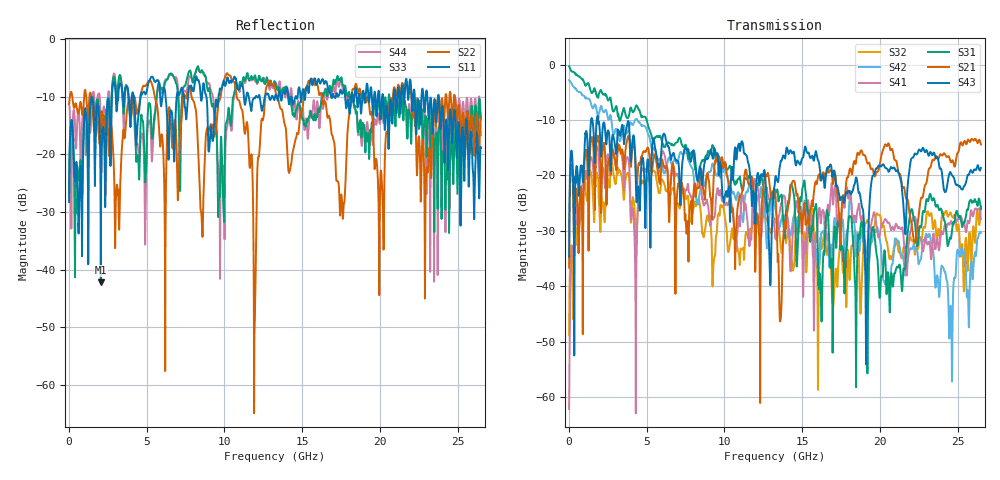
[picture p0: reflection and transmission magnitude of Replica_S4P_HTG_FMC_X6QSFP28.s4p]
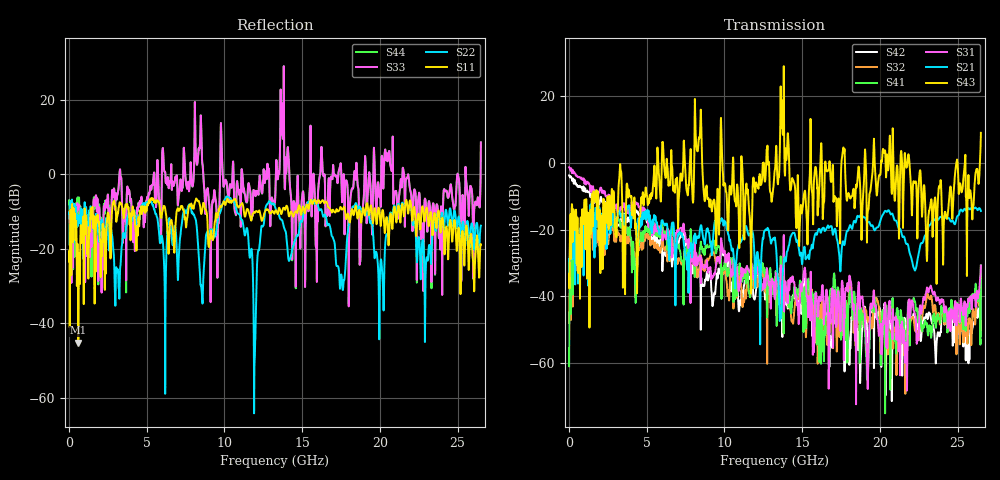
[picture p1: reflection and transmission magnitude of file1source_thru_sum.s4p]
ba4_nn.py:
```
import skrf as rf
import matplotlib.pyplot as plt
from pathlib import Path

# Absolute path of the folder that holds *this* file
APP_DIR = Path(__file__).resolve().parent

# File you want to load, e.g. "config.yaml" that sits next to your script
filename = "Replica_S4P_HTG_FMC_X6QSFP28.s4p"
filename1 = "file1source_thru_sum.s4p"
data_file = APP_DIR / filename1

ntw1 = rf.Network(data_file)

ntw1diff = ntw1.copy()
ntw1diff.se2gmm(p=2)

# plot differential return loss
plt.figure(figsize=(10, 5)) 
plt.subplot(1, 2, 1)
plt.suptitle(filename1)
ntw1diff.s11.plot_s_db(label = 'sdd11')
plt.legend()

# plot differential insertion loss
plt.subplot(1, 2, 2)
ntw1diff.s21.plot_s_db(label = 'sdd21')
plt.legend()

##### Split into 2 halves #####
mm_dm = rf.IEEEP370_MM_NZC_2xThru(dummy_2xthru = ntw1, z0 = 50, name = '2xthru')

fix1 = mm_dm.se_side1
fix1.name = 'thru'
mm_side1 = fix1.copy()
mm_side1.se2gmm(p = 2)



# plot differential return loss of one half
plt.figure(figsize=(10, 5)) 
plt.suptitle("AFTER SPLITTING")                 
plt.subplot(1, 2, 1)
mm_side1.s11.plot_s_db(label = 'sdd11')
plt.legend()


# plot differential insertion loss of one half
plt.subplot(1, 2, 2)
mm_side1.s21.plot_s_db(label = 'sdd21')
plt.legend()

plt.show()

# save 4-port S-parameters of one half
fix1.write_touchstone('newfile_add.s4p')
input("Press enter to close the plotting window...")

##### Add cable to port 1 and port2 #####
'''
freq = fix1.frequency
p1 = rf.Circuit.Port(freq, name='port1', z0=50)
p2 = rf.Circuit.Port(freq, name='port2', z0=50)
p3 = rf.Circuit.Port(freq, name='port3', z0=50)
p4 = rf.Circuit.Port(freq, name='port4', z0=50)

cable1 = rf.Network('cable_nearzero.s2p',name='cable1')
cable2 = rf.Network('cable_nearzero.s2p',name='cable2')

# cable1 = 0
# cable2 = 0

fixture = rf.Circuit([[(p1,0),(cable1,0)],[(cable1,1),(fix1,0)],
                      [(p2,0),(cable2,0)],[(cable2,1),(fix1,1)],
                      [(p3,0),(fix1,2)],[(p4,0),(fix1,3)]]).network

mm_fixture = fixture.copy()
mm_fixture.se2gmm(p = 2)

# plot differential return loss of final fixture
plt.figure(figsize=(10, 5))      
plt.suptitle("FINAL RESULT")             
plt.subplot(1, 2, 1)
mm_fixture.s11.plot_s_db(label = 'sdd11')
plt.legend()

# plot differential insertion loss of final fixture
plt.subplot(1, 2, 2)
mm_fixture.s21.plot_s_db(label = 'sdd21')
plt.legend()

finaldatafile = 'newfile.s4p'
fullpath = APP_DIR / finaldatafile
# save 4-port S-parameters of final fixture
fixture.write_touchstone(fullpath)
'''
```
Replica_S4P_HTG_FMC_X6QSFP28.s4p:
!Keysight Technologies,N5222B,MY56022661,A.17.60.13
!Date: Sunday, September 29, 2024 10:35:28
!Correction: S11(C  4-Port  )
!S12(C  4-Port  )
!S13(C  4-Port  )
!S14(C  4-Port  )
!S21(C  4-Port  )
!S22(C  4-Port  )
!S23(C  4-Port  )
!S24(C  4-Port  )
!S31(C  4-Port  )
!S32(C  4-Port  )
!S33(C  4-Port  )
!S34(C  4-Port  )
!S41(C  4-Port  )
!S42(C  4-Port  )
!S43(C  4-Port  )
!S44(C  4-Port  )
!S4P File: Measurements: <S11,S12,S13,S14>,
!<S21,S22,S23,S24>,
!<S31,S32,S33,S34>,
!<S41,S42,S43,S44>:
# Hz S  dB  R 50
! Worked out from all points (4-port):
!   2650 points, 10 MHz to 26.5 GHz, reference 50 ohm
!   strongest paths, dB at 10 MHz, 6.63 GHz, 13.26 GHz, 19.88 GHz, 26.5 GHz:
!     S43: -34.7, -16.4, -20.8, -18.4, -18.7
!     S21: -36.6, -18.2, -22.9, -19.2, -14.4
!     S31: -0.3, -14.3, -23.4, -36.4, -26.1
!     S41: -62.2, -19.5, -31.2, -30.9, -27.9
!     S42: -2.8, -17.8, -25.7, -29.9, -30.3
!     S32: -48.8, -22.5, -28.3, -27.1, -25.7
!   lowest |S11| = -42.2 dB at 2.05 GHz (marker M1), VSWR 1.02, Z = 50.7 + j0.239 ohm
!   |S11| at or under -10 dB: start of sweep to 2.765 GHz; 8.841 GHz to 9.618 GHz (776.8 MHz wide, 8.42 % of centre); 23.8 GHz to end of sweep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
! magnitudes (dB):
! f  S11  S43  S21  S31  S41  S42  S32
! 10 MHz  -28.3  -34.7  -36.6  -0.3  -62.2  -2.8  -48.8
! 2.05 GHz  -42.2  -16.2  -24.9  -4.6  -25.1  -7.5  -28.1
! 26.5 GHz  -18.9  -18.7  -14.4  -26.1  -27.9  -30.3  -25.7
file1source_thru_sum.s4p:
!Keysight Technologies,N5222B,MY56022661,A.17.60.13
!Date: Sunday, September 29, 2024 10:35:28
!Correction: S11(C  4-Port  )
!S12(C  4-Port  )
!S13(C  4-Port  )
!S14(C  4-Port  )
!S21(C  4-Port  )
!S22(C  4-Port  )
!S23(C  4-Port  )
!S24(C  4-Port  )
!S31(C  4-Port  )
!S32(C  4-Port  )
!S33(C  4-Port  )
!S34(C  4-Port  )
!S41(C  4-Port  )
!S42(C  4-Port  )
!S43(C  4-Port  )
!S44(C  4-Port  )
!S4P File: Measurements: <S11,S12,S13,S14>,
!<S21,S22,S23,S24>,
!<S31,S32,S33,S34>,
!<S41,S42,S43,S44>:
! Created with skrf (http://scikit-rf.org).
# Hz S RI R 50.0
!freq ReS11 ImS11 ReS12 ImS12 ReS13 ImS13
! ReS14 ImS14
! ReS21 ImS21 ReS22 ImS22 ReS23 ImS23
! ReS24 ImS24
! ReS31 ImS31 ReS32 ImS32 ReS33 ImS33
! ReS34 ImS34
! ReS41 ImS41 ReS42 ImS42 ReS43 ImS43
! ReS44 ImS44
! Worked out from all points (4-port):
!   2650 points, 10 MHz to 26.5 GHz, reference 50 ohm
!   strongest paths, dB at 10 MHz, 6.63 GHz, 13.26 GHz, 19.88 GHz, 26.5 GHz:
!     S43: -33.2, -1.2, -1.8, -6.2, 8.9
!     S21: -33.9, -18.0, -22.8, -19.3, -14.4
!     S31: -1.4, -27.6, -40.6, -48.4, -30.9
!     S41: -60.9, -18.8, -34.7, -46.8, -31.2
!     S32: -48.0, -22.4, -36.5, -41.7, -33.3
!     S42: -3.8, -31.0, -38.7, -45.7, -30.7
!   lowest |S11| = -45.2 dB at 600 MHz (marker M1), VSWR 1.01, Z = 50.5 + j0.214 ohm
!   |S11| at or under -10 dB: 1.529 GHz to 2.77 GHz (1.24 GHz wide, 57.7 % of centre); 8.84 GHz to 9.62 GHz (780.6 MHz wide, 8.46 % of centre); 23.79 GHz to end of sweep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
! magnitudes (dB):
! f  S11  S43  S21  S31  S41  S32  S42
! 10 MHz  -23.4  -33.2  -33.9  -1.4  -60.9  -48.0  -3.8
! 600 MHz  -45.2  -33.0  -36.0  -4.2  -26.0  -29.2  -7.0
! 26.5 GHz  -18.9  8.9  -14.4  -30.9  -31.2  -33.3  -30.7
